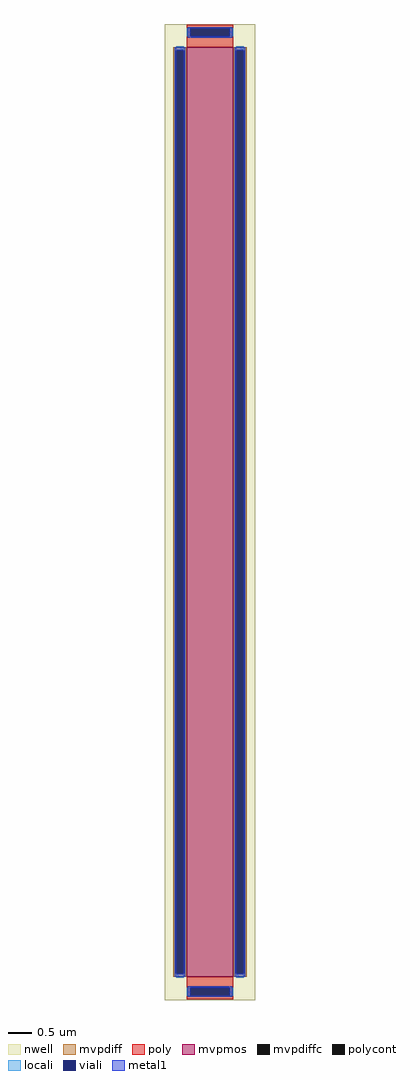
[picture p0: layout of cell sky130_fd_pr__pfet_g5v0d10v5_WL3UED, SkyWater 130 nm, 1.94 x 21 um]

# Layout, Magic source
magic
tech sky130A
magscale 1 2
<< nwell >>
rect -194 -2100 194 2100
<< mvpmos >>
rect -100 -2000 100 2000
<< mvpdiff >>
rect -158 1988 -100 2000
rect -158 -1988 -146 1988
rect -112 -1988 -100 1988
rect -158 -2000 -100 -1988
rect 100 1988 158 2000
rect 100 -1988 112 1988
rect 146 -1988 158 1988
rect 100 -2000 158 -1988
<< mvpdiffc >>
rect -146 -1988 -112 1988
rect 112 -1988 146 1988
<< poly >>
rect -100 2081 100 2097
rect -100 2047 -84 2081
rect 84 2047 100 2081
rect -100 2000 100 2047
rect -100 -2047 100 -2000
rect -100 -2081 -84 -2047
rect 84 -2081 100 -2047
rect -100 -2097 100 -2081
<< polycont >>
rect -84 2047 84 2081
rect -84 -2081 84 -2047
<< locali >>
rect -100 2047 -84 2081
rect 84 2047 100 2081
rect -146 1988 -112 2004
rect -146 -2004 -112 -1988
rect 112 1988 146 2004
rect 112 -2004 146 -1988
rect -100 -2081 -84 -2047
rect 84 -2081 100 -2047
<< viali >>
rect -84 2047 84 2081
rect -146 -1988 -112 1988
rect 112 -1988 146 1988
rect -84 -2081 84 -2047
<< metal1 >>
rect -96 2081 96 2087
rect -96 2047 -84 2081
rect 84 2047 96 2081
rect -96 2041 96 2047
rect -152 1988 -106 2000
rect -152 -1988 -146 1988
rect -112 -1988 -106 1988
rect -152 -2000 -106 -1988
rect 106 1988 152 2000
rect 106 -1988 112 1988
rect 146 -1988 152 1988
rect 106 -2000 152 -1988
rect -96 -2047 96 -2041
rect -96 -2081 -84 -2047
rect 84 -2081 96 -2047
rect -96 -2087 96 -2081
<< properties >>
string gencell sky130_fd_pr__pfet_g5v0d10v5
string library sky130
string parameters w 20 l 1 m 1 nf 1 diffcov 100 polycov 100 guard 0 glc 0 grc 0 gtc 0 gbc 0 tbcov 100 rlcov 100 topc 1 botc 1 poverlap 0 doverlap 0 lmin 0.50 wmin 0.42 compatible {sky130_fd_pr__pfet_01v8  sky130_fd_pr__pfet_01v8_lvt sky130_fd_pr__pfet_01v8_hvt  sky130_fd_pr__pfet_g5v0d10v5} full_metal 0 viasrc 100 viadrn 100 viagate 100 viagb 0 viagr 0 viagl 0 viagt 0
<< end >>
